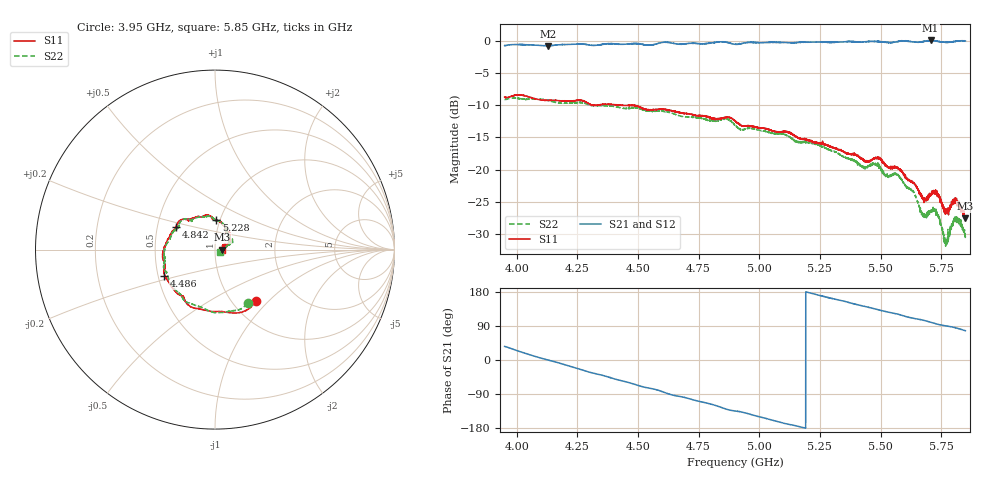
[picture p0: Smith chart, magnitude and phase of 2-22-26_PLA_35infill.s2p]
# GHZ S RI R 50.000000000000
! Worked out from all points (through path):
!   4501 points, 3.95 GHz to 5.85 GHz, reference 50 ohm
!   highest |S21| = 0.07 dB at 5.706 GHz (marker M1); lowest = -0.8 dB at 4.129 GHz (marker M2)
!   lowest |S11| = -27.6 dB at 5.85 GHz (marker M3), VSWR 1.09, Z = 54.4 + j0.00361 ohm
!   |S11| at or under -10 dB: 4.434 GHz to 4.464 GHz (29.64 MHz wide, 0.666 % of centre); 4.475393 GHz to 4.485587 GHz (10.19 MHz wide, 0.228 % of centre); 4.486 GHz to end of sweep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
!   |S22| runs from -31.9 to -8.8 dB; largest |S21 - S12| = 0.022
!   S11 on the Smith chart (normalised r, x): 3.95 GHz: 1.28, -0.85; 4.486 GHz: 0.54, -0.18; 4.842 GHz: 0.63, +0.17; 5.228 GHz: 0.96, +0.32; 5.85 GHz: 1.09, +0.00
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3.95  0.228 -0.2867  0.7463 0.5381  0.7429 0.5269  0.1829 -0.2996
4.0488  0.1024 -0.3532  0.8999 0.2392  0.9054 0.2435  0.0695 -0.3451
4.1286  0.015 -0.3449  0.9141 0.000503  0.9136 -0.00279  -0.0309 -0.3426
4.267089  -0.1394 -0.3156  0.8515 -0.4085  0.8611 -0.4065  -0.1654 -0.2881
4.4858  -0.2819 -0.1478  0.4211 -0.8594  0.4218 -0.8656  -0.2858 -0.1066
4.583756  -0.2887 -0.0587  0.1671 -0.9429  0.1697 -0.9357  -0.2826 -0.0334
4.716333  -0.2643 0.0549  -0.2165 -0.933  -0.2241 -0.9318  -0.2432 0.0799
4.841733  -0.2156 0.1252  -0.5615 -0.8081  -0.5552 -0.8198  -0.203 0.1373
4.9  -0.1679 0.1699  -0.659 -0.6697  -0.6696 -0.6732  -0.1436 0.1697
5.055378  -0.081 0.1825  -0.9089 -0.3495  -0.9105 -0.3541  -0.0578 0.1818
5.217089  0.000738 0.1668  -0.9755 0.0746  -0.9763 0.0738  0.0252 0.1572
5.227644  0.00722 0.1635  -0.9737 0.1032  -0.9767 0.1002  0.0288 0.1553
5.369089  0.0576 0.1187  -0.8698 0.4674  -0.8683 0.4708  0.0625 0.1048
5.533756  0.0749 0.0705  -0.5743 0.7844  -0.5707 0.7939  0.0796 0.04
5.567956  0.0851 0.0592  -0.5159 0.8418  -0.5121 0.84  0.0848 0.0344
5.632133  0.0732 0.0313  -0.3457 0.9199  -0.3493 0.9205  0.0651 0.02
5.678578  0.0556 0.0236  -0.2477 0.9587  -0.2481 0.9597  0.0442 0.00715
5.706444  0.0531 0.0327  -0.1693 0.9932  -0.1671 0.9909  0.0472 0.0026
5.734733  0.0589 0.0187  -0.0773 0.9896  -0.0723 0.9916  0.0407 -0.0191
5.769356  0.0422 0.0164  0.00105 0.9732  0.00627 0.9675  0.023 -0.014
5.809044  0.0565 0.0148  0.0832 0.9891  0.0837 0.9851  0.0405 -0.0135
5.85  0.0418 3.32e-05  0.2174 0.9756  0.2195 0.9829  0.0277 -0.0126
